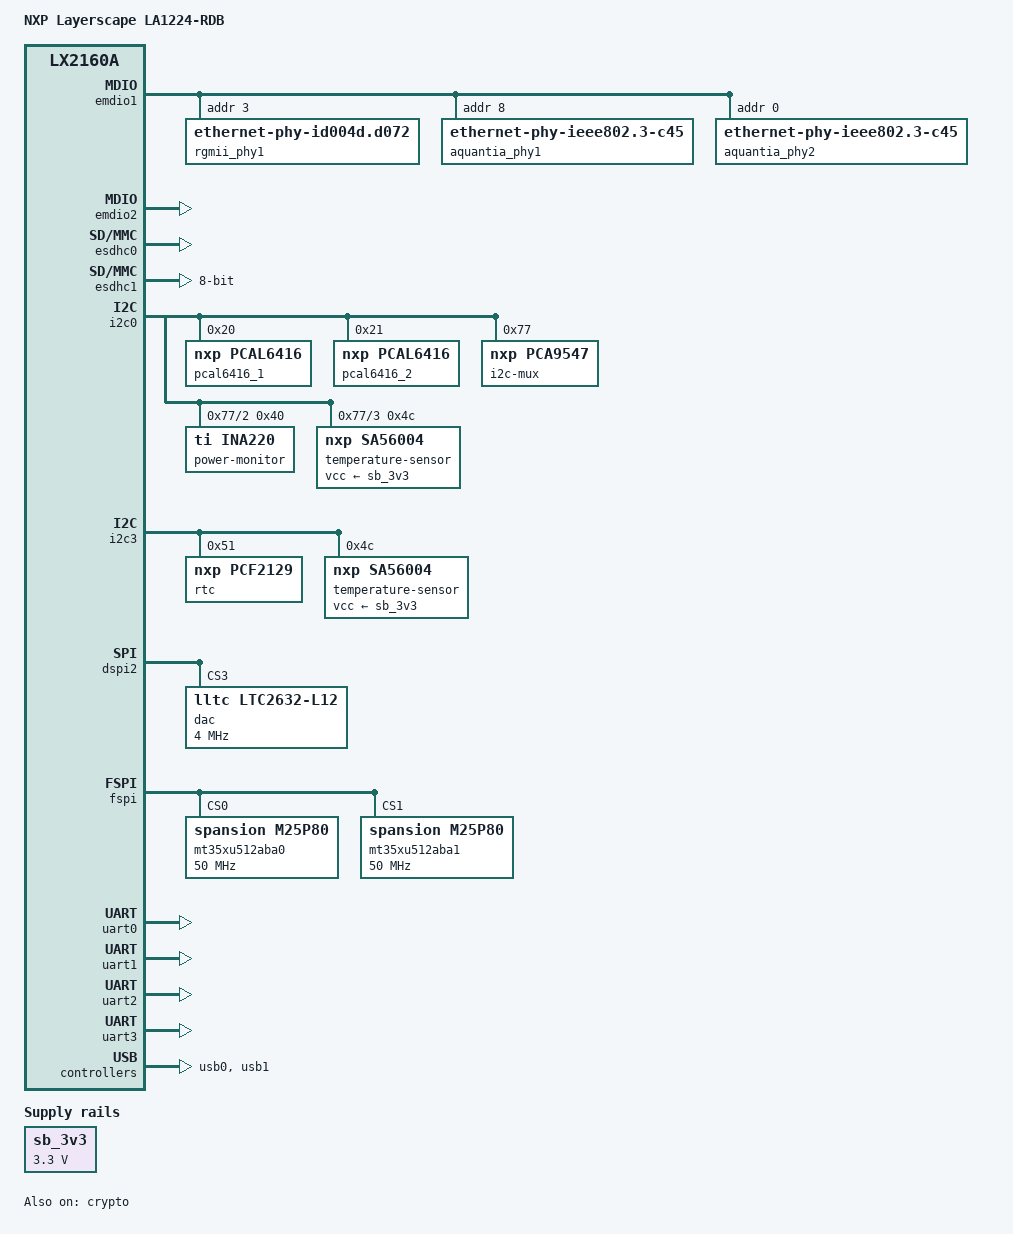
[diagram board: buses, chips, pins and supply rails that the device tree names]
// SPDX-License-Identifier: (GPL-2.0 OR MIT)
//
// Device Tree file for LA1224RDB
//
// Copyright 2020-2022 NXP

/dts-v1/;

#include "fsl-lx2160a.dtsi"

/ {
	model = "NXP Layerscape LA1224-RDB";
	compatible = "nxp,la1224-rdb", "fsl,lx2160a";

	aliases {
		crypto = &crypto;
		serial0 = &uart0;
		serial1 = &uart1;
		serial2 = &uart2;
		serial3 = &uart3;
	};

	chosen {
		stdout-path = "serial0:115200n8";
	};

	sb_3v3: regulator-sb3v3 {
		compatible = "regulator-fixed";
		regulator-name = "MC34717-3.3VSB";
		regulator-min-microvolt = <3300000>;
		regulator-max-microvolt = <3300000>;
		regulator-boot-on;
		regulator-always-on;
	};


	modem0 {
		compatible = "geul_modem0";
		#address-cells = <1>;
		#size-cells = <0>;

		modem_wdog {
			compatible = "modem_wdog";
			reg = <0x0>;
			interrupt-cells = <3>;
			interrupts = <GIC_SPI 9 IRQ_TYPE_EDGE_RISING>;
			modem-reset-gpio = <&pcal6416_1 7 GPIO_ACTIVE_LOW>;
			status = "okay";
		};

		modem_hsdcs {
			compatible = "modem_hsdcs";
			reg = <0x0>;
			hsdcs-reset-gpio = <&gpio0 29 GPIO_ACTIVE_LOW>;
			status = "okay";
		};

		modem_tti {
			compatible = "modem_tti1";
			reg = <0x0>;
			interrupt-cells = <3>;
			interrupts = <GIC_SPI 1 IRQ_TYPE_EDGE_RISING>,
				     <GIC_SPI 8 IRQ_TYPE_EDGE_RISING>;
			status = "okay";
		};
	};

	modem1 {
		compatible = "geul_modem1";
		#address-cells = <1>;
		#size-cells = <0>;

		modem_wdog {
			compatible = "modem_wdog";
			reg = <0x0>;
			interrupt-cells = <3>;
			interrupts = <GIC_SPI 5 IRQ_TYPE_EDGE_RISING>;
			modem-reset-gpio = <&pcal6416_1 6 GPIO_ACTIVE_LOW>;
			status = "okay";
		};

		modem_hsdcs {
			compatible = "modem_hsdcs";
			reg = <0x0>;
			hsdcs-reset-gpio = <&gpio0 29 GPIO_ACTIVE_LOW>;
			status = "okay";
		};

		modem_tti {
			compatible = "modem_tti1";
			reg = <0x0>;
			interrupt-cells = <3>;
			interrupts = <GIC_SPI 10 IRQ_TYPE_EDGE_RISING>,
				     <GIC_SPI 11 IRQ_TYPE_EDGE_RISING>;
			status = "okay";
		};
	};

	soc {
		ptp-timer@8b95000 {
			clocks = <&clockgen 0x04 0x01>;
			compatible = "fsl,dpaa2-ptp";
			fsl,cksel = <0x00>;
			fsl,extts-fifo;
			fsl,max-adj = <0xEE6B27F>;
			fsl,tclk-period = <0x0a>;
			fsl,tmr-add = <0xCCCCCCCD>;
			fsl,tmr-fiper1 = <0x3b9ac9f6>;
			fsl,tmr-fiper2 = <0x3b9ac9f6>;
			fsl,tmr-fiper3 = <0x3b9ac9f6>;
			fsl,tmr-prsc = <0x02>;
			little-endian;
			reg = <0x00 0x8b95000 0x00 0x100>;
		};

	};
};

&crypto {
	status = "okay";
};

&emdio1 {
	status = "okay";
};

&emdio2 {
	status = "okay";
};

&esdhc0 {
	sd-uhs-sdr104;
	sd-uhs-sdr50;
	sd-uhs-sdr25;
	sd-uhs-sdr12;
	status = "okay";
};

&esdhc1 {
	mmc-hs200-1_8v;
	mmc-hs400-1_8v;
	bus-width = <8>;
	status = "okay";
};

&i2c0 {
	status = "okay";
	pcal6416_1: pcal6416@20 {
		compatible = "nxp,pcal6416";
		reg = <0x20>;
		gpio-controller;
		#gpio-cells = <2>;
		P00 {
			gpio-hog;
			gpios = <0 GPIO_ACTIVE_LOW>;
			output-low;
			line-name = "i2c_rst_phy1_10ge_b";
		};

		P01 {
			gpio-hog;
			gpios = <1 GPIO_ACTIVE_LOW>;
			output-low;
			line-name = "i2c_rst_phy2_10ge_b";
		};

		P02 {
			gpio-hog;
			gpios = <2 GPIO_ACTIVE_LOW>;
			output-low;
			line-name = "i2c_m2_slot1_rst_b";
		};

		P03 {
			gpio-hog;
			gpios = <3 GPIO_ACTIVE_LOW>;
			output-low;
			line-name = "i2c_m2_slot2_rst_b";
		};

		P04 {
			gpio-hog;
			gpios = <4 GPIO_ACTIVE_LOW>;
			output-low;
			line-name = "i2c_ephy1_rst_b";
		};

		P05 {
			gpio-hog;
			gpios = <5 GPIO_ACTIVE_LOW>;
			output-low;
			line-name = "i2c_lea_6t_rst_b";
		};

		P10 {
			gpio-hog;
			gpios = <8 GPIO_ACTIVE_HIGH>;
			input;
			line-name = "pmic_int_b";
		};

		P11 {
			gpio-hog;
			gpios = <9 GPIO_ACTIVE_HIGH>;
			input; // spread is off (default)
			line-name = "cfg_spread_en";
		};

		P12 {
			gpio-hog;
			gpios = <10 GPIO_ACTIVE_HIGH>;
			output-high;
			line-name = "lx2_uart_en";
		};

		P13 {
			gpio-hog;
			gpios = <11 GPIO_ACTIVE_HIGH>;
			input;
			line-name = "mdm_brd_gpio_04";
		};

		P14 {
			gpio-hog;
			gpios = <12 GPIO_ACTIVE_HIGH>;
			input;
			line-name = "mdm_brd_id";
		};

		P15 {
			gpio-hog;
			gpios = <13 GPIO_ACTIVE_HIGH>;
			input;
			line-name = "irq_rtc_b";
		};

		P16 {
			gpio-hog;
			gpios = <14 GPIO_ACTIVE_HIGH>;
			input;
			line-name = "board_revision[0]";
		};

		P17 {
			gpio-hog;
			gpios = <15 GPIO_ACTIVE_HIGH>;
			input;
			line-name = "board_revision[1]";
		};
	};
	pcal6416_2: pcal6416@21 {
		compatible = "nxp,pcal6416";
		reg = <0x21>;
		gpio-controller;
		#gpio-cells = <2>;

		P00 {
			gpio-hog;
			gpios = <0 GPIO_ACTIVE_HIGH>;
			input;
			line-name = "sfp_mod_abs";
		};

		P01 {
			gpio-hog;
			gpios = <1 GPIO_ACTIVE_HIGH>;
			input;
			line-name = "sfp_tx_fault";
		};

		P02 {
			gpio-hog;
			gpios = <2 GPIO_ACTIVE_HIGH>;
			input;
			line-name = "sfp_rx_los";
		};

		P03 {
			gpio-hog;
			gpios = <3 GPIO_ACTIVE_LOW>;
			output-high;
			line-name = "sfp_tx_en";
		};

		P04 {
			gpio-hog;
			gpios = <4 GPIO_ACTIVE_HIGH>;
			output-low;
			line-name = "pcie1_wigig_en[0]";
		};

		P05 {
			gpio-hog;
			gpios = <5 GPIO_ACTIVE_HIGH>;
			output-low;
			line-name = "pcie1_wdisable_b[0]";
		};

		P06 {
			gpio-hog;
			gpios = <6 GPIO_ACTIVE_HIGH>;
			output-low;
			line-name = "pcie1_wigig_en[1]";
		};

		P07 {
			gpio-hog;
			gpios = <7 GPIO_ACTIVE_HIGH>;
			output-low;
			line-name = "pcie1_wdisable_b[1]";
		};

		P10 {
			gpio-hog;
			gpios = <8 GPIO_ACTIVE_HIGH>;
			output-low;
			line-name = "buff_m2_pwr_en";
		};

		P11 {
			gpio-hog;
			gpios = <9 GPIO_ACTIVE_HIGH>;
			input;
			line-name = "modembrd_thermshut_b";
		};

		P12 {
			gpio-hog;
			gpios = <10 GPIO_ACTIVE_HIGH>;
			output-low;
			line-name = "cfg_ieee_src[0]";
		};

		P13 {
			gpio-hog;
			gpios = <11 GPIO_ACTIVE_HIGH>;
			output-low;
			line-name = "cfg_ieee_src[1]";
		};

		P14 {
			gpio-hog;
			gpios = <12 GPIO_ACTIVE_HIGH>;
			output-low;
			line-name = "prog_sfg_en";
		};

		P15 {
			gpio-hog;
			gpios = <13 GPIO_ACTIVE_HIGH>;
			output-low;
			line-name = "led_pass";
		};

		P16 {
			gpio-hog;
			gpios = <14 GPIO_ACTIVE_HIGH>;
			output-low;
			line-name = "led_fail";
		};

		P17 {
			gpio-hog;
			gpios = <15 GPIO_ACTIVE_LOW>;
			output-low;
			line-name = "si5341_lol_b";
		};
	};
	i2c-mux@77 {
		compatible = "nxp,pca9547";
		reg = <0x77>;
		#address-cells = <1>;
		#size-cells = <0>;

		i2c@2 {
			#address-cells = <1>;
			#size-cells = <0>;
			reg = <0x2>;

			power-monitor@40 {
				compatible = "ti,ina220";
				reg = <0x40>;
				shunt-resistor = <500>;
			};
		};

		i2c@3 {
			#address-cells = <1>;
			#size-cells = <0>;
			reg = <0x3>;

			temperature-sensor@4c {
				compatible = "nxp,sa56004";
				reg = <0x4c>;
				vcc-supply = <&sb_3v3>;
			};
		};
	};
};

&i2c3 {
	status = "okay";

	rtc@51 {
		compatible = "nxp,pcf2129";
		reg = <0x51>;
		interrupts = <0 150 0x4>;
	};

	temperature-sensor@4c {
		compatible = "nxp,sa56004";
		reg = <0x4c>;
		vcc-supply = <&sb_3v3>;
	};
};

&dspi2 {
	status = "okay";
	dac: ltc2632@3 {
		#address-cells = <1>;
		#size-cells = <1>;
		compatible = "lltc,ltc2632-l12";
		reg = <3>; /* CS3 */
		spi-max-frequency = <4000000>;
	};
};

&fspi {
	status = "okay";

	mt35xu512aba0: flash@0 {
		#address-cells = <1>;
		#size-cells = <1>;
		compatible = "spansion,m25p80";
		m25p,fast-read;
		spi-max-frequency = <50000000>;
		reg = <0>;
		spi-rx-bus-width = <8>;
		spi-tx-bus-width = <8>;
	};

	mt35xu512aba1: flash@1 {
		#address-cells = <1>;
		#size-cells = <1>;
		compatible = "spansion,m25p80";
		m25p,fast-read;
		spi-max-frequency = <50000000>;
		reg = <1>;
		spi-rx-bus-width = <8>;
		spi-tx-bus-width = <8>;
	};
};

&uart0 {
	status = "okay";
};

&uart1 {
	status = "okay";
};

&uart2 {
	status = "okay";
};

&uart3 {
	status = "okay";
};

&usb0 {
	status = "okay";
};

&usb1 {
	status = "okay";
};

&emdio1 {
	rgmii_phy1: ethernet-phy@3 {
		/* AR8035 PHY - "compatible" property not strictly needed */
		compatible = "ethernet-phy-id004d.d072";
		reg = <0x3>;
		/* Poll mode - no "interrupts" property defined */
	};
	aquantia_phy1: ethernet-phy@8 {
		/* AQR113 PHY - "compatible" property not strictly needed */
		compatible = "ethernet-phy-ieee802.3-c45";
		interrupts = <GIC_SPI 2 IRQ_TYPE_LEVEL_HIGH>;
		reg = <0x8>;
	};
	aquantia_phy2: ethernet-phy@0 {
		/* AQR113 PHY - "compatible" property not strictly needed */
		compatible = "ethernet-phy-ieee802.3-c45";
		interrupts = <GIC_SPI 3 IRQ_TYPE_LEVEL_HIGH>;
		reg = <0x0>;
	};
};

&dpmac3 {
	phy-handle = <&aquantia_phy1>;
	phy-connection-type = "usxgmii";
};

&dpmac4 {
	phy-handle = <&aquantia_phy2>;
	phy-connection-type = "usxgmii";
};

&dpmac17 {
	phy-handle = <&rgmii_phy1>;
	phy-connection-type = "rgmii-id";
};

